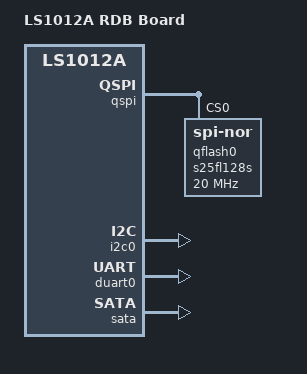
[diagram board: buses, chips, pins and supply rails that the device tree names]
// SPDX-License-Identifier: GPL-2.0+ OR X11
/*
 * Device Tree Include file for Freescale Layerscape-1012A family SoC.
 *
 * Copyright 2016, Freescale Semiconductor
 */

/include/ "fsl-ls1012a.dtsi"

/ {
	model = "LS1012A RDB Board";
	aliases {
		spi0 = &qspi;
	};
};

&qspi {
	bus-num = <0>;
	status = "okay";

	qflash0: s25fl128s@0 {
		#address-cells = <1>;
		#size-cells = <1>;
		compatible = "jedec,spi-nor";
		spi-max-frequency = <20000000>;
		reg = <0>;
	};
};

&i2c0 {
	status = "okay";
};

&duart0 {
	status = "okay";
};

&sata {
	status = "okay";
};
